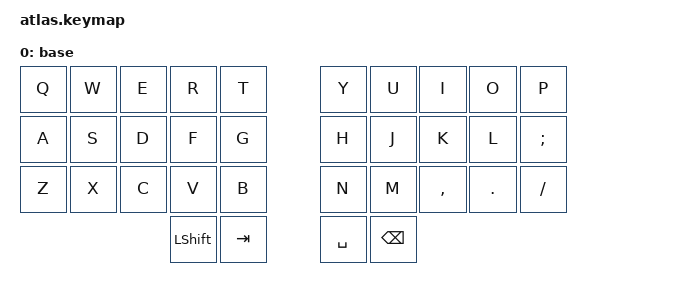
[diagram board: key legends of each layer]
#include <behaviors.dtsi>
#include <dt-bindings/zmk/keys.h>

/* Test keymap: plain QWERTY 3x5 + 2 thumbs per half, only to verify every switch after assembly. */
/ {
    keymap {
        compatible = "zmk,keymap";
        base {
            bindings = <
    &kp Q  &kp W  &kp E     &kp R     &kp T       &kp Y  &kp U  &kp I     &kp O    &kp P
    &kp A  &kp S  &kp D     &kp F     &kp G       &kp H  &kp J  &kp K     &kp L    &kp SEMI
    &kp Z  &kp X  &kp C     &kp V     &kp B       &kp N  &kp M  &kp COMMA &kp DOT  &kp FSLH
                            &kp LSHFT &kp TAB     &kp SPACE &kp BSPC
            >;
        };
    };
};
